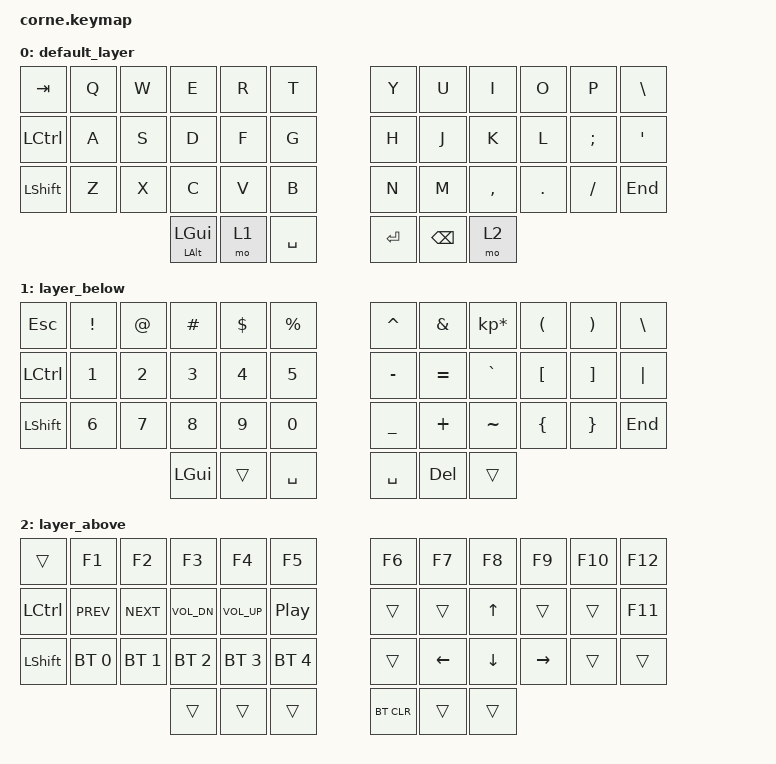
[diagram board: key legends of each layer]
/*
 * Copyright (c) 2020 The ZMK Contributors
 *
 * SPDX-License-Identifier: MIT
 */

#include <behaviors.dtsi>
#include <dt-bindings/zmk/keys.h>
#include <dt-bindings/zmk/bt.h>

/ {
         behaviors {
          tp: tap_preferred {
            compatible = "zmk,behavior-hold-tap";
            label = "TAP_PREFERRED";
            #binding-cells = <2>;
            tapping-term-ms = <150>;
            quick-tap-ms = <0>;
            flavor = "tap-preferred";
            bindings = <&kp>, <&kp>;
          }; 
        };

        keymap {
                compatible = "zmk,keymap";

                default_layer {
// -----------------------------------------------------------------------------------------
// |  TAB |  Q  |  W  |  E  |  R  |  T  |   |  Y  |  U   |  I  |  O  |  P  |  \   |
// | CTRL |  A  |  S  |  D  |  F  |  G  |   |  H  |  J   |  K  |  L  |  ;  |  '   |
// | SHFT |  Z  |  X  |  C  |  V  |  B  |   |  N  |  M   |  ,  |  .  |  /  | END  |
//                    | GUI | LWR | SPC |   | ENT | BSP  | RSE |
                        bindings = <
   &kp TAB   &kp Q &kp W &kp E &kp R &kp T   &kp Y &kp U  &kp I     &kp O   &kp P    &kp BSLH
   &kp LCTRL &kp A &kp S &kp D &kp F &kp G   &kp H &kp J  &kp K     &kp L   &kp SEMI &kp SQT
   &kp LSHFT &kp Z &kp X &kp C &kp V &kp B   &kp N &kp M  &kp COMMA &kp DOT &kp FSLH &kp END
                  &tp LALT LGUI &mo 1 &kp SPACE   &kp ENTER &kp BACKSPACE &mo 2
                        >;
                };

                layer_below {
                        // -----------------------------------------------------------------------------------------
// |  ESC |  !  |  @  |  #  |  $  |    %     |   |  ^  |  &  |  *  |  (  |  )  |   \   |
// | ctrl |  1  |  2  |  3  |  4  |    5     |   |  -  |  =  |  `  |  [  |  ]  |  "|"  |
// | SHFT |  6  |  7  |  8  |  9  |    0     |   |  _  |  +  |  ~  |  {  |  }  | END |
//                     | GUI |    |    SPC   |   |SPC| DEL|    |
                        bindings = <
   &kp ESC   &kp EXCL &kp AT &kp HASH &kp DLLR &kp PRCNT   &kp CARET  &kp AMPS  &kp KP_MULTIPLY &kp LPAR &kp RPAR &kp BSLH
   &kp LCTRL    &kp N1   &kp N2 &kp N3   &kp N4   &kp N5      &kp MINUS  &kp EQUAL &kp GRAVE       &kp LBKT &kp RBKT &kp PIPE
   &kp LSHFT &kp N6   &kp N7 &kp N8   &kp N9   &kp N0      &kp UNDER  &kp PLUS  &kp TILDE       &kp LBRC &kp RBRC &kp END
                         &kp LGUI &trans  &kp SPACE     &kp SPACE &kp DEL  &trans
                        >;
                };

                layer_above {
// -----------------------------------------------------------------------------------------
// |      |  F1  |  F2  |  F3   |  F4   |  F5 |            |  F6  |  F7  |  F8  |  F9  | F10 | F12 |     
// | ctrl | Prev | Next | Vol - | Vol + | p/p |            |      |      |  UP  |      |     | F11 |     
// | SHFT | BT1  | BT2  | BT3   | BT4   | BT5 |            |      |  LFT |  DWN | RGT  |  |     |     
//                              |     |    |    |       |   btclr  |     |     |
                        bindings = <
   &trans     &kp F1        &kp F2       &kp F3       &kp F4       &kp F5          &kp F6  &kp F7   &kp F8 &kp F9 &kp F10 &kp F12
   &kp LCTRL     &kp C_PREV    &kp C_NEXT   &kp C_VOL_DN &kp C_VOL_UP &kp C_PP        &trans  &trans   &kp UP &trans &trans &kp F11
   &kp LSHFT &bt BT_SEL 0  &bt BT_SEL 1 &bt BT_SEL 2 &bt BT_SEL 3 &bt BT_SEL 4        &trans  &kp LEFT &kp DOWN  &kp RIGHT  &trans &trans
                          	                &trans   &trans   &trans           &bt BT_CLR   &trans   &trans
                        >;
                };
        };
};
